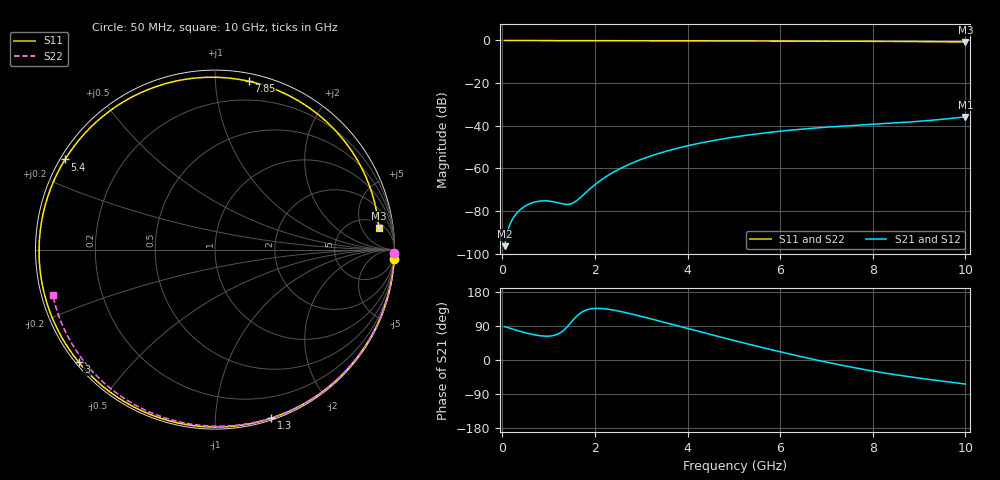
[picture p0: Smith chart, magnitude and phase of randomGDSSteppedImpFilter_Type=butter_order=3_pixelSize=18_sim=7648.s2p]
! freq	dB(S11)	phase(S11)	dB(S12)	phase(S12)
!  dB(S21)	phase(S21)	dB(S22)	phase(S22)
!S-par simulation data
#  GHz  S  DB  R 50
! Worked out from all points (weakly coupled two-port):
!   200 points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, 50 MHz to 10 GHz, reference 50 ohm
!   highest |S21| = -35.83 dB at 10 GHz (marker M1); lowest = -96.5 dB at 50 MHz (marker M2)
!   lowest |S11| = -0.7 dB at 10 GHz (marker M3), VSWR 24.09, Z = 342 + j542 ohm
!   |S11| at or under -10 dB: nowhere
!   |S22| runs from -0.5 to 0.0 dB; largest |S21 - S12| = 0
!   S11 on the Smith chart (normalised r, x): 50 MHz: 0, -39; 1.3 GHz: 0.01, -1.39; 3 GHz: 0.01, -0.36; 5.4 GHz: 0.01, +0.28; 7.85 GHz: 0.06, +1.22; 10 GHz: 7, +11
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0.05  -0.00 -3.0  -96.48 88.1  -96.48 88.1  -0.00 -1.0
0.35  -0.03 -20.4  -80.11 77.0  -80.11 77.0  -0.01 -6.7
0.55  -0.04 -31.8  -77.00 70.4  -77.00 70.4  -0.02 -10.5
0.8  -0.06 -45.7  -75.36 64.2  -75.36 64.2  -0.02 -15.2
1  -0.07 -56.3  -75.30 62.9  -75.30 62.9  -0.02 -19.0
1.3  -0.08 -71.6  -76.65 75.8  -76.65 75.8  -0.03 -24.6
1.5  -0.09 -81.2  -76.48 101.3  -76.48 101.3  -0.04 -28.3
1.75  -0.10 -92.5  -72.41 128.6  -72.41 128.6  -0.04 -32.9
2.05  -0.11 -105.3  -66.80 136.3  -66.80 136.3  -0.05 -38.4
2.3  -0.12 -115.3  -63.07 133.7  -63.07 133.7  -0.06 -42.9
3  -0.13 -140.5  -55.78 115.2  -55.78 115.2  -0.07 -55.3
3.4  -0.14 -153.5  -52.84 102.6  -52.84 102.6  -0.08 -62.3
4.2  -0.17 -177.5  -48.46 76.9  -48.46 76.9  -0.11 -75.8
5.05  -0.21 158.6  -45.17 50.1  -45.17 50.1  -0.14 -89.6
5.4  -0.22 149.0  -44.10 39.4  -44.10 39.4  -0.15 -95.2
6.1  -0.26 129.7  -42.34 18.8  -42.34 18.8  -0.19 -106.0
6.7  -0.30 112.8  -41.17 2.2  -41.17 2.2  -0.22 -115.1
7.3  -0.34 95.3  -40.24 -13.2  -40.24 -13.2  -0.27 -124.1
7.85  -0.39 78.7  -39.51 -25.9  -39.51 -25.9  -0.31 -132.2
8.35  -0.44 62.9  -38.87 -36.1  -38.87 -36.1  -0.36 -139.6
9.25  -0.56 33.3  -37.48 -51.8  -37.48 -51.8  -0.45 -152.9
10  -0.72 7.6  -35.83 -63.5  -35.83 -63.5  -0.55 -164.3
